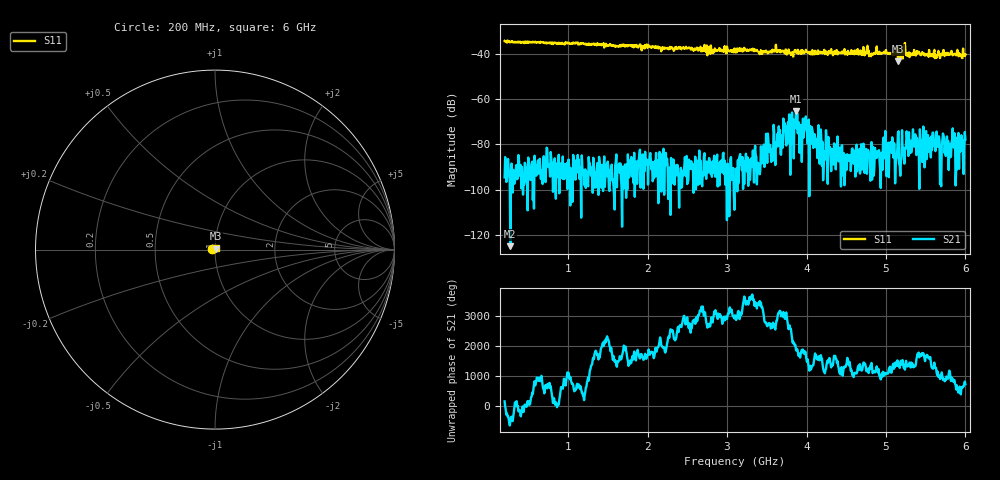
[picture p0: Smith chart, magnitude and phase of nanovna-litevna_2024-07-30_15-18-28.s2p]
! NanoVNA-App by OneOfEleven et al v1.1.209 (+OD15)
! Date: 2024-07-30 15:18:32
! Start: 200MHz Stop: 6GHz Points: 801
! S-Parameter data: F S11 S21 S12 S22
# Hz S RI R 50
!  Frequency  S11_Real  S11_Imag  S21_Real  S21_Imag  S12_Real  S12_Imag  S22_Real  S22_Imag
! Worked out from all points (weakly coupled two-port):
!   801 points, 200 MHz to 6 GHz, reference 50 ohm
!   highest |S21| = -65.30 dB at 3.869 GHz (marker M1); lowest = -124.8 dB at 272.5 MHz (marker M2)
!   lowest |S11| = -43.4 dB at 5.152 GHz (marker M3), VSWR 1.01, Z = 50.4 + j0.569 ohm
!   |S11| at or under -10 dB: start of sweep to end of sweep
!   S12 and S22 are empty: the file has one direction only
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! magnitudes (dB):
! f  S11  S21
! 200 MHz  -34.5  -94.5
! 272.5 MHz  -35.0  -124.8
! 1.171 GHz  -35.6  -84.8
! 2.136 GHz  -37.8  -105.9
! 3.1 GHz  -38.4  -94.4
! 3.55 GHz  -39.4  -84.2
! 3.738 GHz  -38.2  -76.2
! 3.869 GHz  -39.6  -65.3
! 3.876 GHz  -39.8  -73.0
! 3.919 GHz  -39.1  -76.3
! 3.977 GHz  -39.6  -72.9
! 4.072 GHz  -38.5  -73.0
! 4.115 GHz  -39.9  -78.1
! 4.311 GHz  -38.1  -91.8
! 5.036 GHz  -40.1  -94.4
! 5.152 GHz  -43.4  -74.6
! 5.304 GHz  -39.8  -83.4
! 5.362 GHz  -40.6  -76.7
! 5.463 GHz  -40.2  -81.5
! 5.5 GHz  -40.4  -74.5
! 5.768 GHz  -39.7  -76.5
! 6 GHz  -40.4  -77.9
